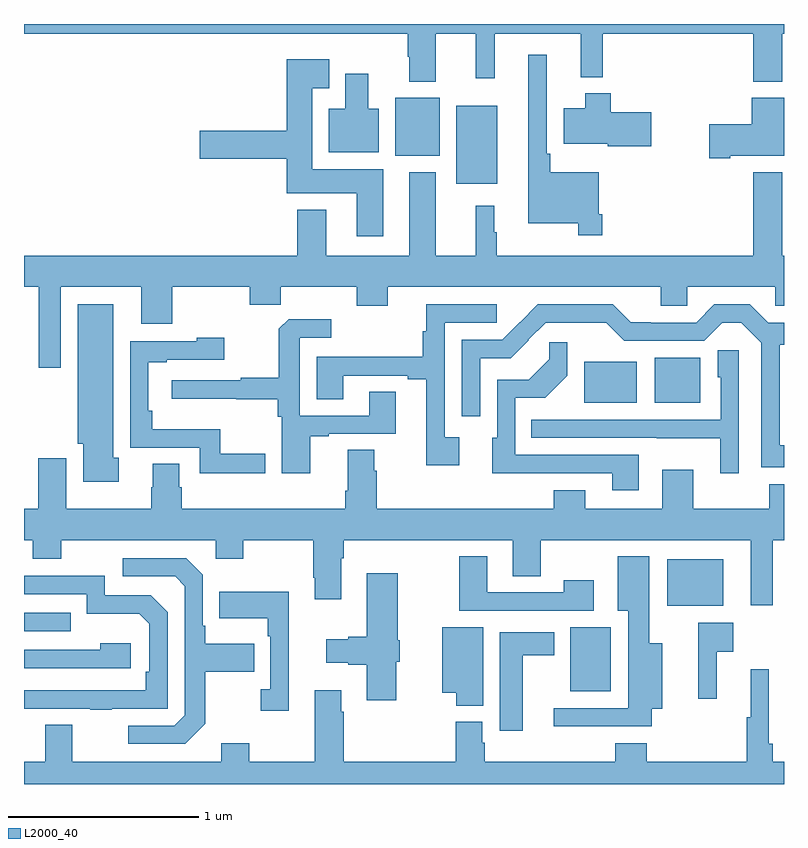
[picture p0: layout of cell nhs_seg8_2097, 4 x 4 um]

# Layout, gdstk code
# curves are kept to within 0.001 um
import gdstk
lib = gdstk.Library(unit=1e-6, precision=1e-09)
def R(c, l, rs):  # rectangles x0, y0, x1, y1
    for r in rs: c.add(gdstk.rectangle(r[:2], r[2:], *l))
def P(c, l, *ps):  # polygons
    for p in ps: c.add(gdstk.Polygon(p, *l))
L2000_40 = (2000, 40)

nhs_seg8_2097 = lib.new_cell('nhs_seg8_2097')
R(nhs_seg8_2097, L2000_40, [(245.876,1098.389,246.088,1098.724), (243,1098.705,243.245,1098.801), (246.386,1098.839,246.679,1099.084), (245.948,1099.907,246.226,1100.122), (246.32,1099.907,246.559,1100.143), (245.276,1101.059,245.491,1101.469), (244.955,1101.206,245.188,1101.511)])
P(nhs_seg8_2097, L2000_40, [(245.167,1101.848),(245.378,1101.848),(245.378,1101.615),(245.477,1101.615),(245.477,1101.848),(245.93,1101.848),(245.93,1101.62),(246.047,1101.62),(246.047,1101.848),(246.839,1101.848),(246.839,1101.596),(246.991,1101.596),(246.991,1101.848),(247,1101.848),(247,1101.9),(243,1101.9),(243,1101.848),(245.02,1101.848),(245.02,1101.728),(245.027,1101.728),(245.027,1101.596),(245.167,1101.596)],
  [(246.044,1100.899),(246.024,1100.899),(246.024,1101.121),(245.771,1101.121),(245.771,1101.217),(245.751,1101.217),(245.751,1101.739),(245.654,1101.739),(245.654,1100.852),(245.916,1100.852),(245.916,1100.787),(246.044,1100.787)],
  [(244.891,1101.136),(244.516,1101.136),(244.516,1101.563),(244.606,1101.563),(244.606,1101.715),(244.382,1101.715),(244.382,1101.338),(243.924,1101.338),(243.924,1101.191),(244.382,1101.191),(244.382,1101.008),(244.751,1101.008),(244.751,1100.784),(244.891,1100.784)],
  [(244.867,1101.454),(244.813,1101.454),(244.813,1101.637),(244.691,1101.637),(244.691,1101.454),(244.604,1101.454),(244.604,1101.224),(244.867,1101.224)],
  [(246.301,1101.435),(246.089,1101.435),(246.089,1101.535),(245.954,1101.535),(245.954,1101.457),(245.84,1101.457),(245.84,1101.269),(246.072,1101.269),(246.072,1101.257),(246.301,1101.257)],
  [(246.718,1101.206),(247,1101.206),(247,1101.511),(246.83,1101.511),(246.83,1101.372),(246.606,1101.372),(246.606,1101.194),(246.718,1101.194)],
  [(243.193,1100.516),(243.617,1100.516),(243.617,1100.322),(243.781,1100.322),(243.781,1100.516),(244.187,1100.516),(244.187,1100.423),(244.351,1100.423),(244.351,1100.516),(244.751,1100.516),(244.751,1100.417),(244.915,1100.417),(244.915,1100.516),(246.35,1100.516),(246.35,1100.418),(246.492,1100.418),(246.492,1100.516),(246.954,1100.516),(246.954,1100.418),(247,1100.418),(247,1100.68),(246.991,1100.68),(246.991,1101.121),(246.839,1101.121),(246.839,1100.68),(245.488,1100.68),(245.488,1100.804),(245.476,1100.804),(245.476,1100.944),(245.378,1100.944),(245.378,1100.68),(245.167,1100.68),(245.167,1101.121),(245.027,1101.121),(245.027,1100.68),(244.591,1100.68),(244.591,1100.923),(244.439,1100.923),(244.439,1100.68),(243,1100.68),(243,1100.516),(243.077,1100.516),(243.077,1100.091),(243.193,1100.091)],
  [(243.499,1099.616),(243.469,1099.616),(243.469,1100.425),(243.284,1100.425),(243.284,1099.692),(243.311,1099.692),(243.311,1099.49),(243.499,1099.49)],
  [(245.29,1099.726),(245.214,1099.726),(245.214,1100.328),(245.487,1100.328),(245.487,1100.424),(245.117,1100.424),(245.117,1100.282),(245.098,1100.282),(245.098,1100.15),(244.541,1100.15),(244.541,1099.924),(244.681,1099.924),(244.681,1100.049),(245.021,1100.049),(245.021,1100.029),(245.117,1100.029),(245.117,1099.578),(245.29,1099.578)],
  [(247,1099.682),(246.977,1099.682),(246.977,1100.212),(247,1100.212),(247,1100.328),(246.916,1100.328),(246.82,1100.424),(246.633,1100.424),(246.537,1100.328),(246.298,1100.328),(246.298,1100.33),(246.194,1100.33),(246.099,1100.424),(245.705,1100.424),(245.517,1100.238),(245.304,1100.238),(245.304,1099.836),(245.4,1099.836),(245.4,1100.142),(245.563,1100.142),(245.657,1100.236),(245.655,1100.238),(245.745,1100.328),(246.065,1100.327),(246.159,1100.232),(246.579,1100.232),(246.674,1100.327),(246.775,1100.327),(246.879,1100.223),(246.879,1099.566),(247,1099.566)],
  [(244.507,1099.731),(244.603,1099.731),(244.603,1099.743),(244.957,1099.743),(244.957,1099.964),(244.817,1099.964),(244.817,1099.839),(244.452,1099.839),(244.452,1100.25),(244.618,1100.25),(244.618,1100.347),(244.393,1100.347),(244.341,1100.295),(244.341,1100.038),(244.141,1100.038),(244.141,1100.025),(243.777,1100.025),(243.777,1099.928),(244.117,1099.928),(244.117,1099.924),(244.336,1099.924),(244.336,1099.832),(244.356,1099.832),(244.356,1099.536),(244.507,1099.536)],
  [(244.27,1099.637),(244.033,1099.637),(244.033,1099.768),(243.674,1099.768),(243.674,1099.864),(243.654,1099.864),(243.654,1100.121),(243.751,1100.121),(243.751,1100.133),(244.054,1100.133),(244.054,1100.248),(243.909,1100.248),(243.909,1100.229),(243.558,1100.229),(243.558,1099.671),(243.924,1099.671),(243.924,1099.535),(244.27,1099.535)],
  [(246.235,1099.632),(245.586,1099.632),(245.586,1099.932),(245.743,1099.932),(245.859,1100.048),(245.859,1100.224),(245.764,1100.224),(245.764,1100.136),(245.656,1100.028),(245.49,1100.028),(245.49,1099.722),(245.465,1099.722),(245.465,1099.535),(246.095,1099.536),(246.095,1099.446),(246.235,1099.446)],
  [(246.762,1100.183),(246.65,1100.183),(246.65,1100.04),(246.666,1100.04),(246.666,1099.818),(245.671,1099.818),(245.671,1099.722),(246.331,1099.722),(246.331,1099.721),(246.665,1099.721),(246.665,1099.536),(246.762,1099.536)],
  [(246.941,1099.184),(247,1099.184),(247,1099.477),(246.923,1099.477),(246.923,1099.348),(246.523,1099.348),(246.523,1099.555),(246.359,1099.555),(246.359,1099.348),(245.953,1099.348),(245.953,1099.447),(245.789,1099.447),(245.789,1099.348),(244.856,1099.348),(244.856,1099.55),(244.843,1099.55),(244.843,1099.658),(244.703,1099.658),(244.703,1099.444),(244.691,1099.444),(244.691,1099.348),(243.83,1099.348),(243.83,1099.461),(243.817,1099.461),(243.817,1099.586),(243.677,1099.586),(243.677,1099.461),(243.67,1099.461),(243.67,1099.348),(243.223,1099.348),(243.223,1099.615),(243.076,1099.615),(243.076,1099.348),(243,1099.348),(243,1099.184),(243.047,1099.184),(243.047,1099.085),(243.195,1099.085),(243.195,1099.184),(244.008,1099.184),(244.008,1099.085),(244.155,1099.085),(244.155,1099.184),(244.522,1099.184),(244.522,1098.985),(244.529,1098.985),(244.529,1098.873),(244.669,1098.873),(244.669,1099.088),(244.682,1099.088),(244.682,1099.184),(245.573,1099.184),(245.573,1098.994),(245.721,1098.994),(245.721,1099.184),(246.824,1099.184),(246.824,1098.84),(246.941,1098.84)],
  [(246.305,1098.296),(246.358,1098.296),(246.358,1098.64),(246.292,1098.64),(246.292,1099.099),(246.125,1099.099),(246.125,1098.812),(246.179,1098.812),(246.179,1098.3),(245.787,1098.3),(245.787,1098.203),(246.305,1098.203)],
  [(245.998,1098.973),(245.842,1098.973),(245.842,1098.909),(245.437,1098.909),(245.437,1099.099),(245.29,1099.099),(245.29,1098.813),(245.998,1098.813)],
  [(243.955,1098.217),(243.955,1098.49),(244.211,1098.49),(244.211,1098.637),(243.955,1098.637),(243.955,1098.733),(243.942,1098.733),(243.942,1099.002),(243.855,1099.089),(243.519,1099.089),(243.519,1098.993),(243.795,1098.993),(243.846,1098.942),(243.846,1098.261),(243.792,1098.207),(243.549,1098.207),(243.549,1098.111),(243.849,1098.111)],
  [(244.96,1098.543),(244.978,1098.543),(244.978,1098.657),(244.968,1098.657),(244.968,1099.009),(244.805,1099.009),(244.805,1098.674),(244.706,1098.674),(244.706,1098.661),(244.59,1098.661),(244.59,1098.539),(244.706,1098.539),(244.706,1098.527),(244.805,1098.527),(244.805,1098.342),(244.96,1098.342)],
  [(243.461,1098.297),(243.756,1098.297),(243.756,1098.804),(243.666,1098.894),(243.426,1098.894),(243.426,1098.996),(243,1098.996),(243,1098.9),(243.33,1098.9),(243.33,1098.797),(243.607,1098.797),(243.66,1098.744),(243.66,1098.49),(243.64,1098.49),(243.64,1098.393),(243,1098.393),(243,1098.297),(243.349,1098.297),(243.349,1098.292),(243.461,1098.292)],
  [(244.394,1098.913),(244.027,1098.913),(244.027,1098.773),(244.284,1098.773),(244.284,1098.677),(244.296,1098.677),(244.296,1098.398),(244.245,1098.398),(244.245,1098.285),(244.394,1098.285)],
  [(246.647,1098.596),(246.733,1098.596),(246.733,1098.748),(246.548,1098.748),(246.548,1098.348),(246.647,1098.348)],
  [(245.416,1098.724),(245.201,1098.724),(245.201,1098.38),(245.275,1098.38),(245.275,1098.313),(245.416,1098.313)],
  [(245.626,1098.578),(245.791,1098.578),(245.791,1098.7),(245.504,1098.7),(245.504,1098.18),(245.626,1098.18)],
  [(243.562,1098.64),(243.401,1098.64),(243.401,1098.606),(243,1098.606),(243,1098.51),(243.562,1098.51)],
  [(247,1098.016),(246.941,1098.016),(246.941,1098.112),(246.921,1098.112),(246.921,1098.505),(246.824,1098.505),(246.824,1098.252),(246.805,1098.252),(246.805,1098.016),(246.278,1098.016),(246.278,1098.115),(246.113,1098.115),(246.113,1098.016),(245.426,1098.016),(245.426,1098.117),(245.413,1098.117),(245.413,1098.228),(245.273,1098.228),(245.273,1098.016),(244.682,1098.016),(244.682,1098.281),(244.669,1098.281),(244.669,1098.394),(244.529,1098.394),(244.529,1098.016),(244.185,1098.016),(244.185,1098.115),(244.037,1098.115),(244.037,1098.016),(243.253,1098.016),(243.253,1098.211),(243.113,1098.211),(243.113,1098.016),(243,1098.016),(243,1097.9),(247,1097.9)])

lib.write_gds('nhs_seg8_2097.gds')
